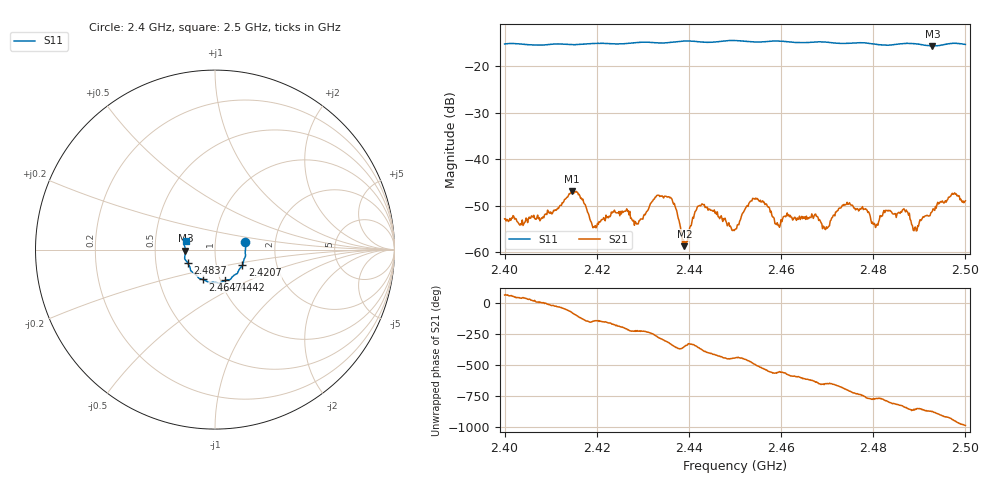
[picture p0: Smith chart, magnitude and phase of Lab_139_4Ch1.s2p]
# Hz S RI R 50
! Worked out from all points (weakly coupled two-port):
!   601 points, 2.4 GHz to 2.5 GHz, reference 50 ohm
!   highest |S21| = -46.88 dB at 2.4147 GHz (marker M1); lowest = -58.7 dB at 2.439 GHz (marker M2)
!   lowest |S11| = -15.6 dB at 2.4928 GHz (marker M3), VSWR 1.40, Z = 35.8 - j0.437 ohm
!   |S11| at or under -10 dB: start of sweep to end of sweep
!   S12 and S22 are empty: the file has one direction only
!   S11 on the Smith chart (normalised r, x): 2.4 GHz: 1.40, +0.12; 2.4207 GHz: 1.34, -0.24; 2.4442 GHz: 1.05, -0.37; 2.4647 GHz: 0.83, -0.29; 2.4837 GHz: 0.73, -0.11; 2.5 GHz: 0.71, +0.07
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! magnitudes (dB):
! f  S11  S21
! 2.4 GHz  -15.2  -52.9
! 2.408 GHz  -15.4  -52.7
! 2.4147 GHz  -15.4  -46.9
! 2.4167 GHz  -15.3  -48.4
! 2.4207 GHz  -15.1  -53.6
! 2.4287 GHz  -14.9  -54.0
! 2.4333 GHz  -15.0  -47.8
! 2.4365 GHz  -14.8  -49.3
! 2.439 GHz  -14.6  -58.7
! 2.4418 GHz  -14.7  -50.2
! 2.4442 GHz  -14.9  -51.0
! 2.45 GHz  -14.5  -55.2
! 2.4543 GHz  -14.8  -48.6
! 2.4592 GHz  -14.6  -53.7
! 2.4647 GHz  -14.9  -52.8
! 2.4667 GHz  -14.8  -51.8
! 2.4805 GHz  -15.3  -54.7
! 2.4833 GHz  -15.5  -51.0
! 2.4837 GHz  -15.4  -51.1
! 2.4892 GHz  -15.2  -54.6
! 2.4928 GHz  -15.6  -51.2
! 2.5 GHz  -15.3  -49.0
